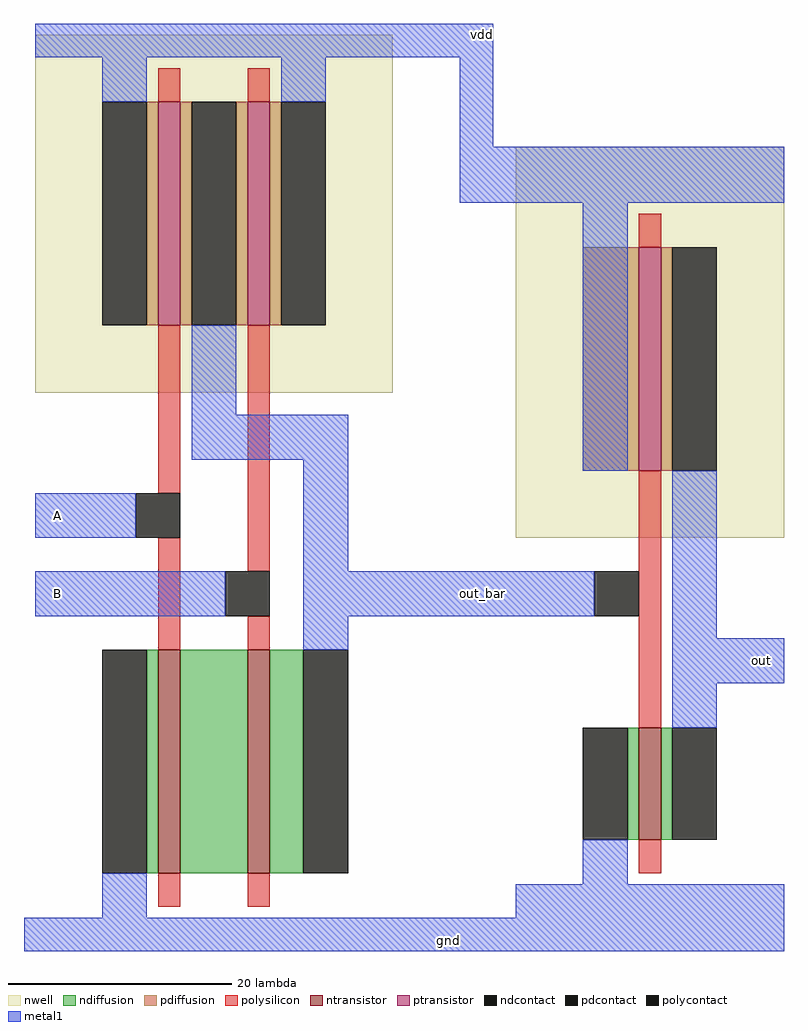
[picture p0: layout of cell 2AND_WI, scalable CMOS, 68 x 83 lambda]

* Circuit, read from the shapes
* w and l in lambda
.subckt 2AND_WI A B gnd out out_bar vdd
M1 n1 A gnd VSUBS nfet w=20 l=2
M2 out_bar B n1 VSUBS nfet w=20 l=2
M3 out out_bar gnd VSUBS nfet w=10 l=2
M4 out_bar A vdd n2 pfet w=20 l=2
M5 vdd B out_bar n2 pfet w=20 l=2
M6 out out_bar n3 n4 pfet w=20 l=2
.ends

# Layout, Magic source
magic
tech scmos
<< metal1 >>
rect 33 80 42 83
rect 39 72 42 80
rect 39 67 47 72
rect 1 37 9 41
rect 1 30 18 34
rect 28 30 51 34
rect 58 24 68 28
rect 27 0 68 3
use 2NAND_WO  2NAND_WO_0
transform 1 0 1 0 1 50
box -1 -50 32 33
use 2INV  2INV_0
transform 1 0 44 0 1 -44
box 0 45 24 116
<< labels >>
rlabel metal1 3 39 3 39 3 A
rlabel metal1 3 32 3 32 3 B
rlabel metal1 41 32 41 32 1 out_bar
rlabel metal1 66 26 66 26 7 out
rlabel metal1 38 1 38 1 1 gnd
rlabel metal1 41 82 41 82 5 vdd
<< end >>

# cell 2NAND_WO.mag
magic
tech scmos
<< nwell >>
rect 0 0 32 32
<< ntransistor >>
rect 11 -43 13 -23
rect 19 -43 21 -23
<< ptransistor >>
rect 11 6 13 26
rect 19 6 21 26
<< ndiffusion >>
rect 10 -43 11 -23
rect 13 -43 19 -23
rect 21 -43 24 -23
<< pdiffusion >>
rect 10 6 11 26
rect 13 6 14 26
rect 18 6 19 26
rect 21 6 22 26
<< ndcontact >>
rect 6 -43 10 -23
rect 24 -43 28 -23
<< pdcontact >>
rect 6 6 10 26
rect 14 6 18 26
rect 22 6 26 26
<< polysilicon >>
rect 11 26 13 29
rect 19 26 21 29
rect 11 -9 13 6
rect 11 -23 13 -13
rect 19 -16 21 6
rect 19 -23 21 -20
rect 11 -46 13 -43
rect 19 -46 21 -43
<< polycontact >>
rect 9 -13 13 -9
rect 17 -20 21 -16
<< metal1 >>
rect 0 30 32 33
rect 6 26 10 30
rect 22 26 26 30
rect 14 -2 18 6
rect 14 -6 28 -2
rect 0 -13 9 -9
rect 24 -16 28 -6
rect 0 -20 17 -16
rect 24 -20 32 -16
rect 24 -23 28 -20
rect 6 -47 10 -43
rect -1 -50 26 -47
<< end >>

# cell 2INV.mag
magic
tech scmos
<< nwell >>
rect 0 81 24 116
<< ntransistor >>
rect 11 54 13 64
<< ptransistor >>
rect 11 87 13 107
<< ndiffusion >>
rect 10 54 11 64
rect 13 54 14 64
<< pdiffusion >>
rect 6 87 11 107
rect 13 87 14 107
<< ndcontact >>
rect 6 54 10 64
rect 14 54 18 64
<< pdcontact >>
rect 14 87 18 107
<< polysilicon >>
rect 11 107 13 110
rect 11 64 13 87
rect 11 51 13 54
<< polycontact >>
rect 7 74 11 78
<< metal1 >>
rect 0 111 24 116
rect 6 87 10 111
rect 0 74 7 78
rect 14 72 18 87
rect 14 68 24 72
rect 14 64 18 68
rect 6 50 10 54
rect 0 45 24 50
<< end >>
